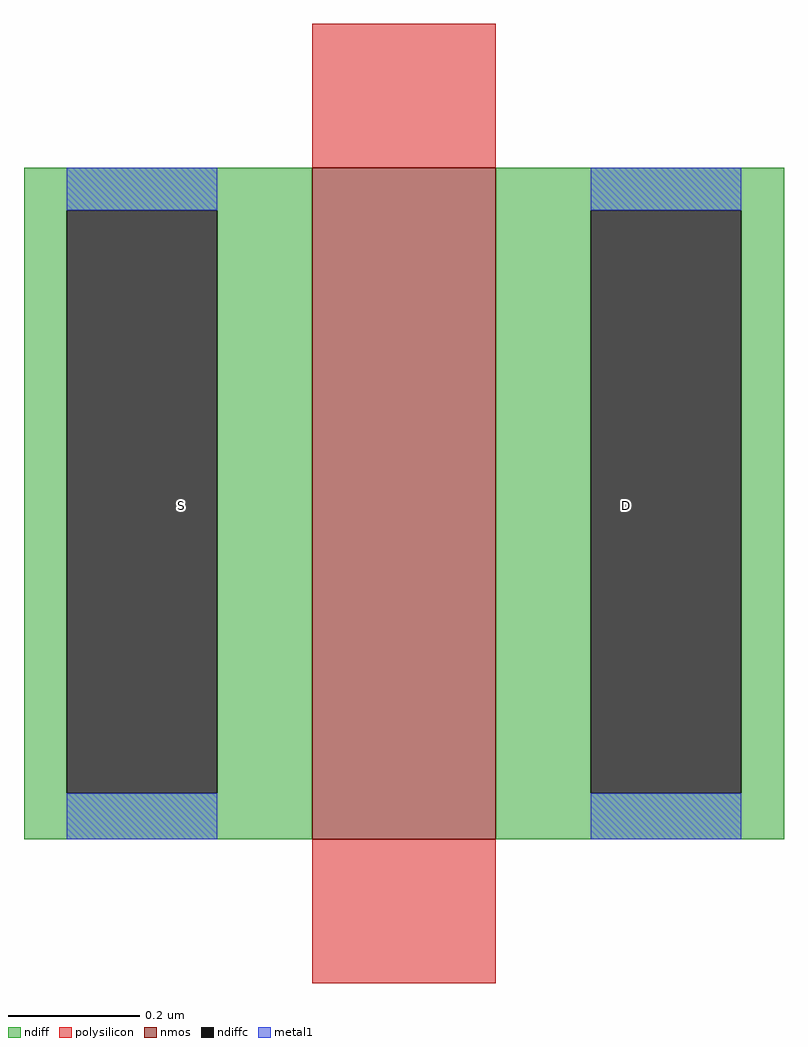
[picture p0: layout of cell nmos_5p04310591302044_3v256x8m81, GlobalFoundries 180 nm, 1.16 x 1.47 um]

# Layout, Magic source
magic
tech gf180mcuD
magscale 1 10
<< nmos >>
rect 0 0 56 205
<< ndiff >>
rect -88 192 0 205
rect -88 14 -75 192
rect -29 14 0 192
rect -88 0 0 14
rect 56 192 144 205
rect 56 14 85 192
rect 131 14 144 192
rect 56 0 144 14
<< ndiffc >>
rect -75 14 -29 192
rect 85 14 131 192
<< polysilicon >>
rect 0 205 56 249
rect 0 -44 56 0
<< metal1 >>
rect -75 192 -29 205
rect -75 0 -29 14
rect 85 192 131 205
rect 85 0 131 14
<< labels >>
flabel ndiffc -40 102 -40 102 0 FreeSans 93 0 0 0 S
flabel ndiffc 96 102 96 102 0 FreeSans 93 0 0 0 D
<< end >>
